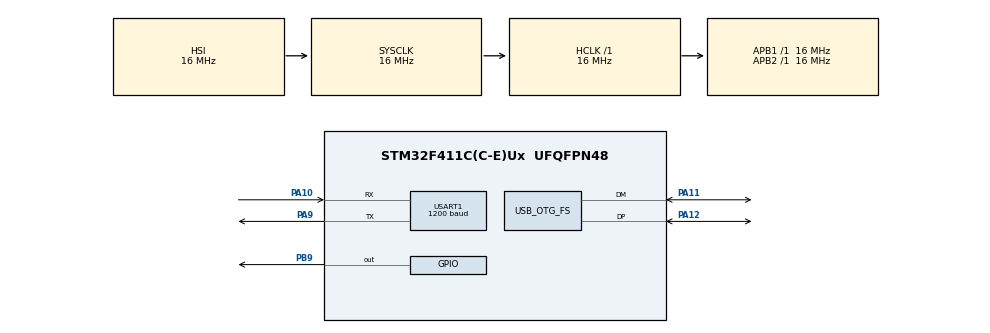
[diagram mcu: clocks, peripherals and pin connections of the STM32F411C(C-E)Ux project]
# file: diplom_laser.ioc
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Mcu.Family=STM32F4
Mcu.Name=STM32F411C(C-E)Ux
Mcu.Package=UFQFPN48
NVIC.OTG_FS_IRQn=true\:0\:0\:false\:false\:true\:false\:true\:true
NVIC.PriorityGroup=NVIC_PRIORITYGROUP_4
PA10.Mode=Asynchronous
PA10.Signal=USART1_RX
PA11.Mode=Device_Only
PA11.Signal=USB_OTG_FS_DM
PA12.Mode=Device_Only
PA12.Signal=USB_OTG_FS_DP
PA9.Mode=Asynchronous
PA9.Signal=USART1_TX
PB9.GPIO_Speed=GPIO_SPEED_FREQ_HIGH
PB9.PinState=GPIO_PIN_SET
PB9.Signal=GPIO_Output
PH0\ -\ OSC_IN.Mode=HSE-External-Oscillator
PH0\ -\ OSC_IN.Signal=RCC_OSC_IN
PH1\ -\ OSC_OUT.Mode=HSE-External-Oscillator
PH1\ -\ OSC_OUT.Signal=RCC_OSC_OUT
ProjectManager.HeapSize=0x200
ProjectManager.StackSize=0x400
ProjectManager.TargetToolchain=STM32CubeIDE
RCC.48MHZClocksFreq_Value=48000000
RCC.AHBFreq_Value=16000000
RCC.APB1Freq_Value=16000000
RCC.APB2Freq_Value=16000000
RCC.CortexFreq_Value=16000000
RCC.HSE_VALUE=25000000
RCC.HSI_VALUE=16000000
RCC.LSE_VALUE=32768
RCC.PLLM=15
RCC.PLLN=144
RCC.PLLQ=5
RCC.SYSCLKFreq_VALUE=16000000
RCC.VCOOutputFreq_Value=240000000
USART1.BaudRate=1200
USART1.VirtualMode=VM_ASYNC
USB_DEVICE.CLASS_NAME_FS=CDC
USB_DEVICE.VirtualMode=Cdc
USB_DEVICE.VirtualModeFS=Cdc_FS
USB_OTG_FS.VirtualMode=Device_Only
VP_USB_DEVICE_VS_USB_DEVICE_CDC_FS.Mode=CDC_FS
board=custom

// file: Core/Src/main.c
/* USER CODE BEGIN Header */
/**
  ******************************************************************************
  * @file           : main.c
  * @brief          : Main program body
  ******************************************************************************
  * @attention
  *
  * Copyright (c) 2026 STMicroelectronics.
  * All rights reserved.
  *
  * This software is licensed under terms that can be found in the LICENSE file
  * in the root directory of this software component.
  * If no LICENSE file comes with this software, it is provided AS-IS.
  *
  ******************************************************************************
  */
/* USER CODE END Header */
#include "main.h"
#include "usb_device.h"

/* USER CODE BEGIN Includes */
#include "usbd_cdc_if.h"
/* USER CODE END Includes */

UART_HandleTypeDef huart1;

void SystemClock_Config(void);
static void MX_GPIO_Init(void);
static void MX_USART1_UART_Init(void);

/* USER CODE BEGIN 0 */
#include <string.h>
#include "laser_proto.h"

// Наш строковый буфер, где будет копиться слово
uint8_t usb_rx_buffer[64];
uint16_t usb_rx_len = 0;

// Переменные для связи с прерыванием USB
uint8_t raw_usb_byte = 0;            // Сюда складываем пойманный символ
volatile uint8_t new_byte_flag = 0;  // Флаг апдейта для main

/* USER CODE END 0 */

int main(void)
{

  /* MCU Configuration--------------------------------------------------------*/

  /* Reset of all peripherals, Initializes the Flash interface and the Systick. */
  HAL_Init();

  /* Configure the system clock */
  SystemClock_Config();

  /* Initialize all configured peripherals */
  MX_GPIO_Init();
  MX_USART1_UART_Init();
  MX_USB_DEVICE_Init();

  /* Infinite loop */
  while (1)
  {

    /* USER CODE BEGIN 3 */
	  if (new_byte_flag == 1) {
	        new_byte_flag = 0; // Сбрасываем флаг прерывания
	        uint8_t c = raw_usb_byte;

	        // Сценарий А: Нажат Enter (обычно терминалы шлют '\r')
	        if (c == '\r' || c == '\n') {
	            if (usb_rx_len > 0) {
	                // Включаем диод на плате — индикация начала физической передачи
	                HAL_GPIO_WritePin(GPIOC, GPIO_PIN_13, GPIO_PIN_RESET);

	            	uint8_t frame[MAX_FRAME];
	            	size_t n = build_frame(usb_rx_buffer, (uint8_t)usb_rx_len,
	            		frame, sizeof(frame));
	            	if (n > 0) {
	            		HAL_UART_Transmit(&huart1, frame, (uint16_t)n, HAL_MAX_DELAY);
	            	}

	                // Выключаем диод — передача окончена
	                HAL_GPIO_WritePin(GPIOC, GPIO_PIN_13, GPIO_PIN_SET);

	                // Очищаем буфер (сбрасываем указатель длины на 0)
	                usb_rx_len = 0;

	                // Красиво выводим статус отправки обратно пользователю в терминал
	                uint8_t msg[] = "\r\n>> message sent\r\n";
	                CDC_Transmit_FS(msg, strlen((char*)msg));
	            } else {
	                // Если нажали Enter на пустой строке — просто переводим каретку
	                uint8_t msg[] = "\r\n";
	                CDC_Transmit_FS(msg, strlen((char*)msg));
	            }
	        }

	        // Сценарий Б: Нажат Backspace (код 0x7F для macOS / screen)
	        else if (c == '\b' || c == 0x7F) {
	            if (usb_rx_len > 0) {
	                usb_rx_len--; // Удаляем последний символ из памяти

	                // Стираем символ на экране терминала (шаг назад, пробел, шаг назад)
	                uint8_t erase_seq[] = "\b \b";
	                CDC_Transmit_FS(erase_seq, 3);
	            }
	        }

	        // Сценарий В: Обычный символ (буква, цифра, пробел)
	        else {
	            if (usb_rx_len < 64) {
	                usb_rx_buffer[usb_rx_len] = c; // Пишем в массив
	                usb_rx_len++;

	                // Сразу выводим букву на экран терминала, чтобы видеть, что пишем
	                CDC_Transmit_FS(&c, 1);
	            }
	        }
	    }
  }
  /* USER CODE END 3 */
}

void SystemClock_Config(void)
{
  RCC_OscInitTypeDef RCC_OscInitStruct = {0};
  RCC_ClkInitTypeDef RCC_ClkInitStruct = {0};

  /** Configure the main internal regulator output voltage
  */
  __HAL_RCC_PWR_CLK_ENABLE();
  __HAL_PWR_VOLTAGESCALING_CONFIG(PWR_REGULATOR_VOLTAGE_SCALE1);

  /** Initializes the RCC Oscillators according to the specified parameters
  * in the RCC_OscInitTypeDef structure.
  */
  RCC_OscInitStruct.OscillatorType = RCC_OSCILLATORTYPE_HSI|RCC_OSCILLATORTYPE_HSE;
  RCC_OscInitStruct.HSEState = RCC_HSE_ON;
  RCC_OscInitStruct.HSIState = RCC_HSI_ON;
  RCC_OscInitStruct.HSICalibrationValue = RCC_HSICALIBRATION_DEFAULT;
  RCC_OscInitStruct.PLL.PLLState = RCC_PLL_ON;
  RCC_OscInitStruct.PLL.PLLSource = RCC_PLLSOURCE_HSE;
  RCC_OscInitStruct.PLL.PLLM = 15;
  RCC_OscInitStruct.PLL.PLLN = 144;
  RCC_OscInitStruct.PLL.PLLP = RCC_PLLP_DIV2;
  RCC_OscInitStruct.PLL.PLLQ = 5;
  if (HAL_RCC_OscConfig(&RCC_OscInitStruct) != HAL_OK)
  {
    Error_Handler();
  }

  /** Initializes the CPU, AHB and APB buses clocks
  */
  RCC_ClkInitStruct.ClockType = RCC_CLOCKTYPE_HCLK|RCC_CLOCKTYPE_SYSCLK
                              |RCC_CLOCKTYPE_PCLK1|RCC_CLOCKTYPE_PCLK2;
  RCC_ClkInitStruct.SYSCLKSource = RCC_SYSCLKSOURCE_HSI;
  RCC_ClkInitStruct.AHBCLKDivider = RCC_SYSCLK_DIV1;
  RCC_ClkInitStruct.APB1CLKDivider = RCC_HCLK_DIV1;
  RCC_ClkInitStruct.APB2CLKDivider = RCC_HCLK_DIV1;

  if (HAL_RCC_ClockConfig(&RCC_ClkInitStruct, FLASH_LATENCY_0) != HAL_OK)
  {
    Error_Handler();
  }
}

static void MX_USART1_UART_Init(void)
{

  huart1.Instance = USART1;
  huart1.Init.BaudRate = 1200;
  huart1.Init.WordLength = UART_WORDLENGTH_8B;
  huart1.Init.StopBits = UART_STOPBITS_1;
  huart1.Init.Parity = UART_PARITY_NONE;
  huart1.Init.Mode = UART_MODE_TX_RX;
  huart1.Init.HwFlowCtl = UART_HWCONTROL_NONE;
  huart1.Init.OverSampling = UART_OVERSAMPLING_16;
  if (HAL_UART_Init(&huart1) != HAL_OK)
  {
    Error_Handler();
  }

}

static void MX_GPIO_Init(void)
{
  GPIO_InitTypeDef GPIO_InitStruct = {0};

  /* GPIO Ports Clock Enable */
  __HAL_RCC_GPIOH_CLK_ENABLE();
  __HAL_RCC_GPIOA_CLK_ENABLE();
  __HAL_RCC_GPIOB_CLK_ENABLE();
	__HAL_RCC_GPIOC_CLK_ENABLE();

  /*Configure GPIO pin Output Level */
  HAL_GPIO_WritePin(GPIOB, GPIO_PIN_9, GPIO_PIN_SET);
	HAL_GPIO_WritePin(GPIOC, GPIO_PIN_13, GPIO_PIN_SET);

  /*Configure GPIO pin : PB9 */
  GPIO_InitStruct.Pin = GPIO_PIN_9;
  GPIO_InitStruct.Mode = GPIO_MODE_OUTPUT_PP;
  GPIO_InitStruct.Pull = GPIO_NOPULL;
  GPIO_InitStruct.Speed = GPIO_SPEED_FREQ_HIGH;
  HAL_GPIO_Init(GPIOB, &GPIO_InitStruct);

  /* USER CODE BEGIN MX_GPIO_Init_2 */
GPIO_InitStruct.Pin = GPIO_PIN_13;
	GPIO_InitStruct.Mode = GPIO_MODE_OUTPUT_PP;
	GPIO_InitStruct.Pull = GPIO_NOPULL;
	GPIO_InitStruct.Speed = GPIO_SPEED_FREQ_LOW;
	HAL_GPIO_Init(GPIOC, &GPIO_InitStruct);
  /* USER CODE END MX_GPIO_Init_2 */
}

void Error_Handler(void)
{
  __disable_irq();
  while (1)
  {
  }
}
